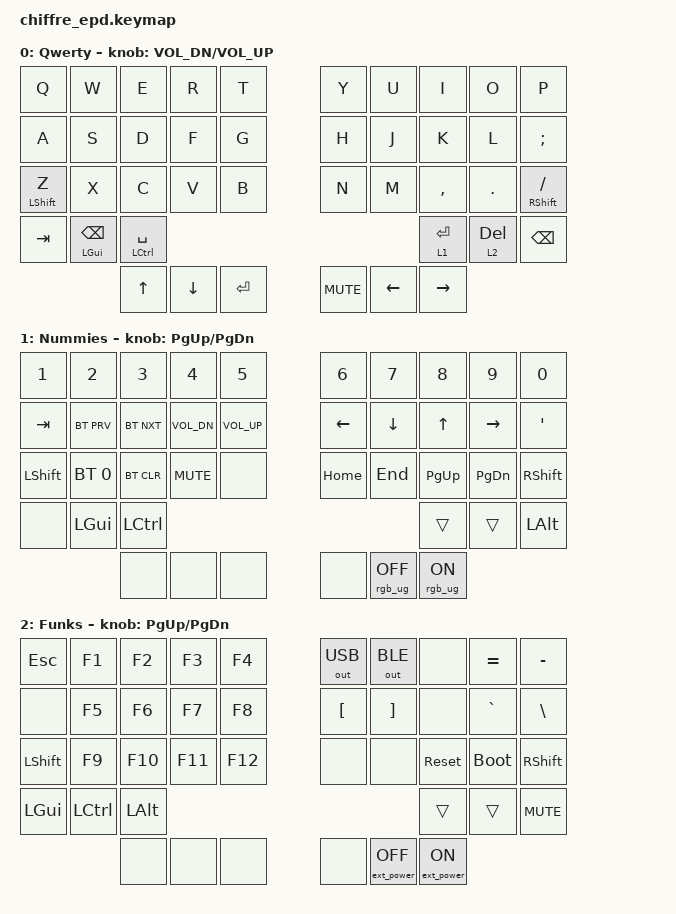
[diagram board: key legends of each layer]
/*
 * Copyright (c) 2021 Nick Winans
 *
 * SPDX-License-Identifier: MIT
 */

#include <behaviors.dtsi>
#include <dt-bindings/zmk/keys.h>
#include <dt-bindings/zmk/rgb.h>
#include <dt-bindings/zmk/bt.h>
#include <dt-bindings/zmk/ext_power.h>
#include <dt-bindings/zmk/outputs.h>

// makes it possible to hold backspace
&mt {
    quick_tap_ms = <200>;
};

&lt {
    quick_tap_ms = <200>;
};

/ {
	keymap {
		compatible = "zmk,keymap";
		
		default {
            label = "Qwerty";
//  _____________________________       _____________________________
// /  Q  |  W  |  E  |  R  |  T  \     /  Y  |  U  |  I  |  O  |  P  \
// |  A  |  S  |  D  |  F  |  G  | ___ |  H  |  J  |  K  |  L  |  ;  |
// |Sft/Z|  X  |  C  |  V  |  B  ||MUT||  N  |  M  |  ,  |  .  |Sft//|
//         \LSup/Bspc|  Ctl/SPC  /     \  Num/Del  | Sym/Ent /
//          ---------------------       --------------------
			bindings = <
            &kp Q       &kp W   &kp E   &kp R   &kp T                               &kp Y   &kp U   &kp I       &kp O   &kp P
            &kp A       &kp S   &kp D   &kp F   &kp G                             &kp H   &kp J   &kp K       &kp L   &kp SEMI
            &mt LSHFT Z &kp X   &kp C   &kp V   &kp B                              &kp N   &kp M   &kp COMMA   &kp DOT &mt RSHFT FSLH
            &kp TAB     &mt LGUI BSPC   &mt LCTRL SPACE                &lt 1 RET       &lt 2 DEL    &kp BACKSPACE  
			&kp UP    &kp DOWN   &kp RET    &kp C_MUTE                                             &kp LEFT &kp RIGHT
			>;
			sensor-bindings = <&inc_dec_kp C_VOL_DN C_VOL_UP>;
		};
		numbers {
            label = "Nummies";
//  _____________________________       _____________________________
// /  1  |  2  |  3  |  4  |  5  \     /  6  |  7  |  8  |  9  |  0  \
// | TAB |BTPRV|BTNXT| VOL-| VOL+| ___ |  <  |  v  |  ^  |  >  |  '  |
// | Sft |BTSL0|BTCLR| MUT |     ||CPS|| HOME| END | PGUP| PGDN| Sft |
//         \  LGUI   |    Ctl    /     \   Trns    |         /
//          ---------------------       --------------------
			bindings = <
            &kp N1      &kp N2 &kp N3 &kp N4 &kp N5                                      &kp N6 &kp N7 &kp N8 &kp N9 &kp N0
            &kp TAB &bt BT_PRV &bt BT_NXT &kp C_VOL_DN &kp C_VOL_UP                         &kp LEFT &kp DOWN &kp UP &kp RIGHT &kp SQT
            &kp LSHFT &bt BT_SEL 0 &bt BT_CLR &kp C_MUTE &none                             &kp HOME &kp END &kp PG_UP &kp PG_DN &kp RSHFT
               &none       &kp LGUI &kp LCTRL                                        &trans     &trans       &kp LALT   
			&none &none &none &none           &rgb_ug RGB_OFF &rgb_ug RGB_ON
			>;
			sensor-bindings = <&inc_dec_kp PG_UP PG_DN>;
		};
		symbols {
            label = "Funks";
//  _____________________________       _____________________________
// / ESC | F1  | F2  | F3  | F4  \     / USB | BLE |     |  =  |  -  \
// |     | F5  | F6  | F7  | F8  | ___ |  [  |  ]  |     |  `  |  \  |
// | Sft | F9  | F10 | F11 | F12 ||   ||     |     |     |     | Sft |
//         \  LAlt   |    Ctl    /     \           | Trns    /
//          ---------------------       --------------------
			bindings = <
            &kp ESC &kp F1 &kp F2 &kp F3 &kp F4 &out OUT_USB &out OUT_BLE &none  &kp EQUAL &kp MINUS
            &none &kp F5 &kp F6 &kp F7 &kp F8 &kp LBKT &kp RBKT &none &kp GRAVE &kp BSLH
            &kp LSHFT &kp F9 &kp F10 &kp F11 &kp F12                    &none  &none &sys_reset &bootloader &kp RSHFT
             &kp LGUI &kp LCTRL &kp LALT                          &trans &trans  &kp C_MUTE   
				&none &none &none &none      &ext_power EP_OFF &ext_power EP_ON
			>;
			sensor-bindings = <&inc_dec_kp PG_UP PG_DN>;		};
	};
};
